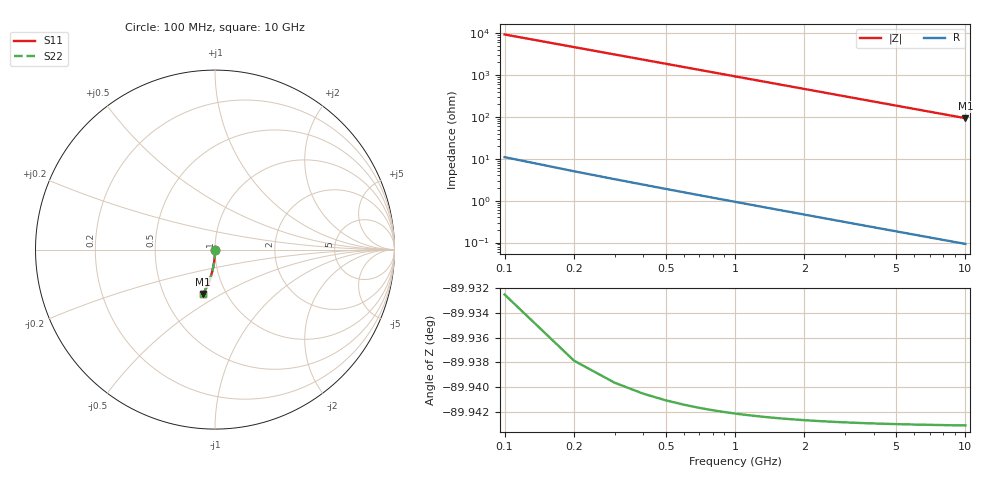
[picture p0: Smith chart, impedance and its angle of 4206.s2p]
# Hz S RI R 50.00
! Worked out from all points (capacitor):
!   100 points, 100 MHz to 10 GHz, reference 50 ohm
!   read as one part in shunt: C = 171 fF near 100 MHz
!   lowest |Z| = 93.5 ohm at 10 GHz (marker M1)
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1e8  -2.91e-06 -0.00267  1 -0.0027  1 -0.0027  -2.91e-06 -0.00267
2e8  -2.71e-05 -0.00533  1 -0.0054  1 -0.0054  -2.71e-05 -0.00533
3e8  -6.58e-05 -0.008  0.9999 -0.00811  0.9999 -0.00811  -6.58e-05 -0.008
4e8  -0.000119 -0.0107  0.9999 -0.0108  0.9999 -0.0108  -0.000119 -0.0107
5e8  -0.000186 -0.0133  0.9998 -0.0135  0.9998 -0.0135  -0.000186 -0.0133
6e8  -0.000268 -0.016  0.9997 -0.0162  0.9997 -0.0162  -0.000268 -0.016
7e8  -0.000364 -0.0187  0.9996 -0.0189  0.9996 -0.0189  -0.000364 -0.0187
8e8  -0.000475 -0.0213  0.9995 -0.0216  0.9995 -0.0216  -0.000475 -0.0213
9e8  -0.0006 -0.024  0.9994 -0.0243  0.9994 -0.0243  -0.0006 -0.024
1.1e9  -0.000893 -0.0293  0.9991 -0.0297  0.9991 -0.0297  -0.000893 -0.0293
1.4e9  -0.00144 -0.0373  0.9985 -0.0378  0.9985 -0.0378  -0.00144 -0.0373
1.8e9  -0.00237 -0.0479  0.9976 -0.0485  0.9976 -0.0485  -0.00237 -0.0479
2.1e9  -0.00321 -0.0558  0.9968 -0.0565  0.9968 -0.0565  -0.00321 -0.0558
2.5e9  -0.00454 -0.0663  0.9954 -0.0672  0.9954 -0.0672  -0.00454 -0.0663
2.9e9  -0.00609 -0.0768  0.9939 -0.0778  0.9939 -0.0778  -0.00609 -0.0768
3.4e9  -0.00833 -0.0898  0.9917 -0.091  0.9917 -0.091  -0.00833 -0.0898
4.2e9  -0.0126 -0.1105  0.9874 -0.112  0.9874 -0.112  -0.0126 -0.1105
5.1e9  -0.0185 -0.1333  0.9815 -0.1351  0.9815 -0.1351  -0.0185 -0.1333
5.9e9  -0.0245 -0.1532  0.9755 -0.1553  0.9755 -0.1553  -0.0245 -0.1532
6.7e9  -0.0314 -0.1726  0.9686 -0.175  0.9686 -0.175  -0.0314 -0.1726
8.4e9  -0.0483 -0.2125  0.9517 -0.2155  0.9517 -0.2155  -0.0483 -0.2125
1e10  -0.067 -0.2478  0.933 -0.2514  0.933 -0.2514  -0.067 -0.2478
